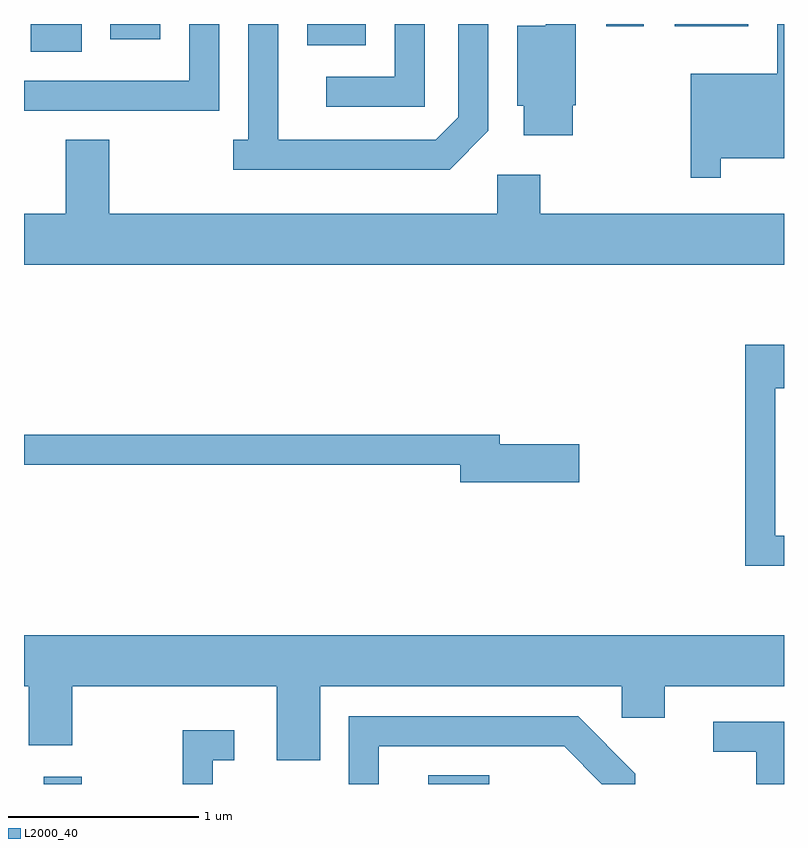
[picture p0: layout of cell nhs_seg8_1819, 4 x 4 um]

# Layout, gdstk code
import gdstk
lib = gdstk.Library(unit=1e-6, precision=1e-09)
def R(c, l, rs):  # rectangles x0, y0, x1, y1
    for r in rs: c.add(gdstk.rectangle(r[:2], r[2:], *l))
def P(c, l, *ps):  # polygons
    for p in ps: c.add(gdstk.Polygon(p, *l))
L2000_40 = (2000, 40)

nhs_seg8_1819 = lib.new_cell('nhs_seg8_1819')
R(nhs_seg8_1819, L2000_40, [(239.716,1840.342,239.914,1840.379), (241.738,1840.342,242.059,1840.389), (239.646,1844.196,239.914,1844.342), (241.101,1844.231,241.409,1844.342), (240.066,1844.261,240.329,1844.342), (242.676,1844.331,242.874,1844.342), (243.036,1844.331,243.424,1844.342)])
P(nhs_seg8_1819, L2000_40, [(242.054,1843.779),(242.054,1844.342),(241.896,1844.342),(241.896,1843.852),(241.779,1843.734),(240.949,1843.734),(240.949,1844.342),(240.791,1844.342),(240.791,1843.734),(240.713,1843.734),(240.713,1843.576),(241.852,1843.576)],
  [(240.639,1844.342),(240.481,1844.342),(240.481,1844.044),(239.611,1844.044),(239.611,1843.886),(240.639,1843.886)],
  [(242.499,1843.915),(242.514,1843.915),(242.514,1844.342),(242.356,1844.342),(242.356,1844.334),(242.206,1844.334),(242.206,1843.911),(242.241,1843.911),(242.241,1843.756),(242.499,1843.756)],
  [(241.719,1844.342),(241.561,1844.342),(241.561,1844.064),(241.203,1844.064),(241.203,1843.906),(241.719,1843.906)],
  [(243.279,1843.636),(243.611,1843.636),(243.611,1844.342),(243.576,1844.342),(243.576,1844.079),(243.121,1844.079),(243.121,1843.533),(243.279,1843.533)],
  [(243.611,1843.344),(242.329,1843.344),(242.329,1843.549),(242.101,1843.549),(242.101,1843.344),(240.059,1843.344),(240.059,1843.734),(239.831,1843.734),(239.831,1843.344),(239.611,1843.344),(239.611,1843.076),(243.611,1843.076)],
  [(243.611,1841.649),(243.564,1841.649),(243.564,1842.426),(243.611,1842.426),(243.611,1842.654),(243.406,1842.654),(243.406,1841.491),(243.611,1841.491)],
  [(242.534,1842.129),(242.114,1842.129),(242.114,1842.179),(239.611,1842.179),(239.611,1842.021),(241.906,1842.021),(241.906,1841.931),(242.534,1841.931)],
  [(241.169,1840.856),(242.756,1840.856),(242.756,1840.691),(242.984,1840.691),(242.984,1840.856),(243.611,1840.856),(243.611,1841.124),(239.611,1841.124),(239.611,1840.856),(239.636,1840.856),(239.636,1840.546),(239.864,1840.546),(239.864,1840.856),(240.941,1840.856),(240.941,1840.466),(241.169,1840.466)],
  [(241.479,1840.541),(242.454,1840.541),(242.653,1840.342),(242.829,1840.342),(242.829,1840.397),(242.527,1840.699),(241.321,1840.699),(241.321,1840.342),(241.479,1840.342)],
  [(243.611,1840.669),(243.238,1840.669),(243.238,1840.511),(243.466,1840.511),(243.466,1840.342),(243.611,1840.342)],
  [(240.604,1840.466),(240.718,1840.466),(240.718,1840.624),(240.446,1840.624),(240.446,1840.342),(240.604,1840.342)])

lib.write_gds('nhs_seg8_1819.gds')
